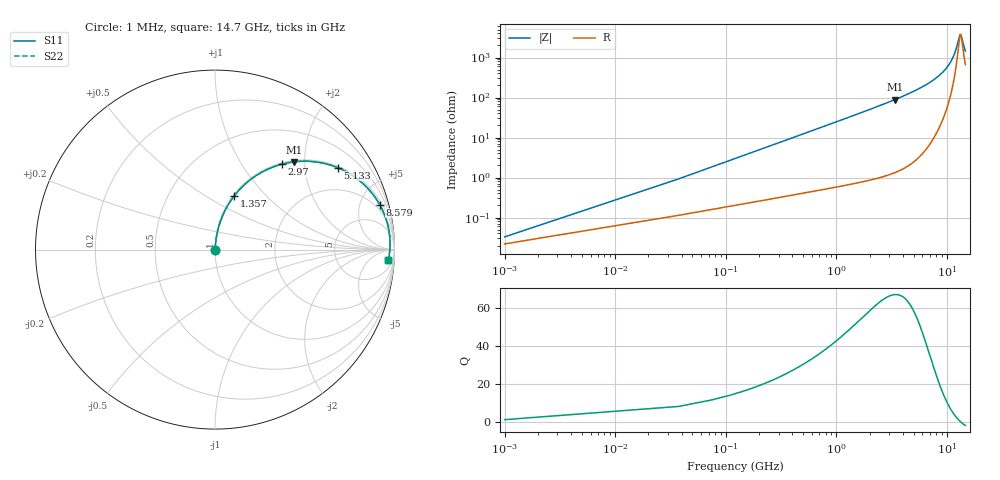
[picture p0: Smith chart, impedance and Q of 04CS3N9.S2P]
! Coilcraft 0402CS-3N9 Chip Inductor
! 29 May 2002
# MHZ S MA R 50
!Freq  MagS11  AngS11  MagS21  AngS21  MagS12  AngS12  MagS22  AngS22
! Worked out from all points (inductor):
!   402 points, 1 MHz to 14.7 GHz, reference 50 ohm
!   read as one part in series: L = 3.9 nH near 74.32 MHz
!   highest Q = 67.1 at 3.374 GHz (marker M1), where L = 4.17 nH
!   self-resonance near 13.29 GHz
!   S11 on the Smith chart (normalised r, x): 1 MHz: 1.00, +0.00; 1.357 GHz: 1.01, +0.67; 2.97 GHz: 1.02, +1.53; 5.133 GHz: 1.05, +2.96; 8.579 GHz: 1.37, +7.21; 14.7 GHz: 14, -26
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1  0.0003286 48.2  0.9998 -0.0  0.9998 -0.0  0.0003286 48.2
110.98  0.0272 84.4  0.9977 -1.6  0.9977 -1.6  0.0272 84.4
184.3  0.04508 84.3  0.9965 -2.6  0.9965 -2.6  0.04508 84.3
257.62  0.06291 83.8  0.9951 -3.6  0.9951 -3.6  0.06291 83.8
440.92  0.1072 81.8  0.9905 -6.2  0.9905 -6.2  0.1072 81.8
660.88  0.1596 79.2  0.9826 -9.2  0.9826 -9.2  0.1596 79.2
954.16  0.2276 75.5  0.9683 -13.2  0.9683 -13.2  0.2276 75.5
1357.42  0.3168 70.4  0.9421 -18.5  0.9421 -18.5  0.3168 70.4
2457.22  0.5254 57.4  0.8425 -31.7  0.8425 -31.7  0.5254 57.4
2970.46  0.6039 52.0  0.788 -37.1  0.788 -37.1  0.6039 52.0
3373.72  0.6575 48.0  0.7437 -41.1  0.7437 -41.1  0.6575 48.0
4913.44  0.8065 35.3  0.5778 -53.7  0.5778 -53.7  0.8065 35.3
5133.4  0.8219 33.7  0.5554 -55.3  0.5554 -55.3  0.8219 33.7
7369.66  0.924 20.7  0.3538 -67.4  0.3538 -67.4  0.924 20.7
8579.44  0.9513 15.3  0.2636 -71.8  0.2636 -71.8  0.9513 15.3
9825.88  0.9673 10.5  0.1822 -74.5  0.1822 -74.5  0.9673 10.5
11218.96  0.9752 5.8  0.1034 -73.2  0.1034 -73.2  0.9752 5.8
12282.1  0.9762 2.7  0.05232 -61.6  0.05232 -61.6  0.9762 2.7
12978.64  0.975 0.8  0.02865 -28.8  0.02865 -28.8  0.975 0.8
13271.92  0.9741 0.1  0.02587 -1.9  0.02587 -1.9  0.9741 0.1
13528.54  0.9732 -0.6  0.02869 20.8  0.02869 20.8  0.9732 -0.6
14700  0.9675 -3.4  0.06695 59.2  0.06695 59.2  0.9675 -3.4
